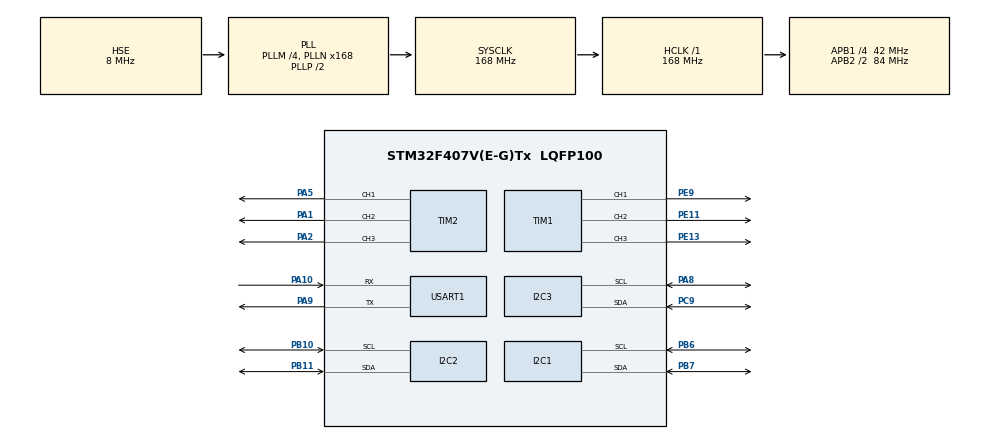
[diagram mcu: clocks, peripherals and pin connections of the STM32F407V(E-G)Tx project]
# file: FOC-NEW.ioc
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FREERTOS.Tasks01=MOTORTask,24,128,StartMOTORTask1,Default,NULL,Dynamic,NULL,NULL;OLEDTask,8,128,StartOLEDTask,Default,NULL,Dynamic,NULL,NULL;UARTTask,8,128,StartUARTTask,Default,NULL,Dynamic,NULL,NULL;AS5600Task,8,128,StartAS5600Task,Default,NULL,Dynamic,NULL,NULL
Mcu.Family=STM32F4
Mcu.Name=STM32F407V(E-G)Tx
Mcu.Package=LQFP100
NVIC.PriorityGroup=NVIC_PRIORITYGROUP_4
NVIC.TIM8_TRG_COM_TIM14_IRQn=true\:15\:0\:false\:false\:true\:false\:false\:true\:true
NVIC.TimeBase=TIM8_TRG_COM_TIM14_IRQn
NVIC.TimeBaseIP=TIM14
PA0-WKUP.Mode=SYS_WakeUp0
PA0-WKUP.Signal=SYS_WKUP
PA1.Signal=S_TIM2_CH2
PA10.Mode=Asynchronous
PA10.Signal=USART1_RX
PA13.Mode=Serial_Wire
PA13.Signal=SYS_JTMS-SWDIO
PA14.Mode=Serial_Wire
PA14.Signal=SYS_JTCK-SWCLK
PA2.Signal=S_TIM2_CH3
PA5.Signal=S_TIM2_CH1_ETR
PA8.GPIO_Pu=GPIO_PULLUP
PA8.Mode=I2C
PA8.Signal=I2C3_SCL
PA9.Mode=Asynchronous
PA9.Signal=USART1_TX
PB10.GPIO_Pu=GPIO_PULLUP
PB10.Mode=I2C
PB10.Signal=I2C2_SCL
PB11.GPIO_Pu=GPIO_PULLUP
PB11.Mode=I2C
PB11.Signal=I2C2_SDA
PB6.GPIO_Pu=GPIO_PULLUP
PB6.Mode=I2C
PB6.Signal=I2C1_SCL
PB7.GPIO_Pu=GPIO_PULLUP
PB7.Mode=I2C
PB7.Signal=I2C1_SDA
PC9.GPIO_Pu=GPIO_PULLUP
PC9.Mode=I2C
PC9.Signal=I2C3_SDA
PE11.Signal=S_TIM1_CH2
PE13.Signal=S_TIM1_CH3
PE9.Signal=S_TIM1_CH1
PH0-OSC_IN.Mode=HSE-External-Oscillator
PH0-OSC_IN.Signal=RCC_OSC_IN
PH1-OSC_OUT.Mode=HSE-External-Oscillator
PH1-OSC_OUT.Signal=RCC_OSC_OUT
ProjectManager.HeapSize=0x200
ProjectManager.StackSize=0x400
ProjectManager.TargetToolchain=CMake
RCC.48MHZClocksFreq_Value=84000000
RCC.AHBFreq_Value=168000000
RCC.APB1CLKDivider=RCC_HCLK_DIV4
RCC.APB1Freq_Value=42000000
RCC.APB1TimFreq_Value=84000000
RCC.APB2CLKDivider=RCC_HCLK_DIV2
RCC.APB2Freq_Value=84000000
RCC.APB2TimFreq_Value=168000000
RCC.CortexFreq_Value=168000000
RCC.HCLKFreq_Value=168000000
RCC.HSE_VALUE=8000000
RCC.HSI_VALUE=16000000
RCC.LSE_VALUE=32768
RCC.PLLM=4
RCC.PLLN=168
RCC.PLLSourceVirtual=RCC_PLLSOURCE_HSE
RCC.SYSCLKFreq_VALUE=168000000
RCC.SYSCLKSource=RCC_SYSCLKSOURCE_PLLCLK
RCC.VCOOutputFreq_Value=336000000
SH.S_TIM1_CH1.0=TIM1_CH1,PWM Generation1 CH1
SH.S_TIM1_CH2.0=TIM1_CH2,PWM Generation2 CH2
SH.S_TIM1_CH3.0=TIM1_CH3,PWM Generation3 CH3
SH.S_TIM2_CH1_ETR.0=TIM2_CH1,PWM Generation1 CH1
SH.S_TIM2_CH2.0=TIM2_CH2,PWM Generation2 CH2
SH.S_TIM2_CH3.0=TIM2_CH3,PWM Generation3 CH3
TIM1.Channel-PWM\ Generation1\ CH1=TIM_CHANNEL_1
TIM1.Channel-PWM\ Generation2\ CH2=TIM_CHANNEL_2
TIM1.Channel-PWM\ Generation3\ CH3=TIM_CHANNEL_3
TIM2.Channel-PWM\ Generation1\ CH1=TIM_CHANNEL_1
TIM2.Channel-PWM\ Generation2\ CH2=TIM_CHANNEL_2
TIM2.Channel-PWM\ Generation3\ CH3=TIM_CHANNEL_3
USART1.VirtualMode=VM_ASYNC
VP_FREERTOS_VS_CMSIS_V2.Mode=CMSIS_V2
VP_SYS_VS_tim14.Mode=TIM14
VP_TIM1_VS_ClockSourceINT.Mode=Internal
VP_TIM2_VS_ClockSourceINT.Mode=Internal
board=custom

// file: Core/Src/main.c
/* USER CODE BEGIN Header */
/**
  ******************************************************************************
  * @file           : main.c
  * @brief          : Main program body
  ******************************************************************************
  * @attention
  *
  * Copyright (c) 2026 STMicroelectronics.
  * All rights reserved.
  *
  * This software is licensed under terms that can be found in the LICENSE file
  * in the root directory of this software component.
  * If no LICENSE file comes with this software, it is provided AS-IS.
  *
  ******************************************************************************
  */
/* USER CODE END Header */
#include "main.h"
#include "cmsis_os.h"
#include "i2c.h"
#include "tim.h"
#include "usart.h"
#include "gpio.h"

/* USER CODE BEGIN Includes */
#include "servo.h"
#include "spi_comm.h"
/* USER CODE END Includes */

void SystemClock_Config(void);
void MX_FREERTOS_Init(void);

int main(void)
{

  /* MCU Configuration--------------------------------------------------------*/

  /* Reset of all peripherals, Initializes the Flash interface and the Systick. */
  HAL_Init();

  /* Configure the system clock */
  SystemClock_Config();

  /* Initialize all configured peripherals */
  MX_GPIO_Init();
  MX_I2C1_Init();
  MX_I2C2_Init();
  MX_TIM1_Init();
  MX_TIM2_Init();
  MX_I2C3_Init();
  MX_USART1_UART_Init();
  /* USER CODE BEGIN 2 */
  SPI2_Init();
  SPI3_Init();
  /* USER CODE END 2 */

  /* Init scheduler */
  osKernelInitialize();  /* Call init function for freertos objects (in cmsis_os2.c) */
  MX_FREERTOS_Init();

  /* Start scheduler */
  osKernelStart();

  /* We should never get here as control is now taken by the scheduler */

  /* Infinite loop */
  while (1)
  {

  }
}

void SystemClock_Config(void)
{
  RCC_OscInitTypeDef RCC_OscInitStruct = {0};
  RCC_ClkInitTypeDef RCC_ClkInitStruct = {0};

  /** Configure the main internal regulator output voltage
  */
  __HAL_RCC_PWR_CLK_ENABLE();
  __HAL_PWR_VOLTAGESCALING_CONFIG(PWR_REGULATOR_VOLTAGE_SCALE1);

  /** Initializes the RCC Oscillators according to the specified parameters
  * in the RCC_OscInitTypeDef structure.
  */
  RCC_OscInitStruct.OscillatorType = RCC_OSCILLATORTYPE_HSE;
  RCC_OscInitStruct.HSEState = RCC_HSE_ON;
  RCC_OscInitStruct.PLL.PLLState = RCC_PLL_ON;
  RCC_OscInitStruct.PLL.PLLSource = RCC_PLLSOURCE_HSE;
  RCC_OscInitStruct.PLL.PLLM = 4;
  RCC_OscInitStruct.PLL.PLLN = 168;
  RCC_OscInitStruct.PLL.PLLP = RCC_PLLP_DIV2;
  RCC_OscInitStruct.PLL.PLLQ = 4;
  if (HAL_RCC_OscConfig(&RCC_OscInitStruct) != HAL_OK)
  {
    Error_Handler();
  }

  /** Initializes the CPU, AHB and APB buses clocks
  */
  RCC_ClkInitStruct.ClockType = RCC_CLOCKTYPE_HCLK|RCC_CLOCKTYPE_SYSCLK
                              |RCC_CLOCKTYPE_PCLK1|RCC_CLOCKTYPE_PCLK2;
  RCC_ClkInitStruct.SYSCLKSource = RCC_SYSCLKSOURCE_PLLCLK;
  RCC_ClkInitStruct.AHBCLKDivider = RCC_SYSCLK_DIV1;
  RCC_ClkInitStruct.APB1CLKDivider = RCC_HCLK_DIV4;
  RCC_ClkInitStruct.APB2CLKDivider = RCC_HCLK_DIV2;

  if (HAL_RCC_ClockConfig(&RCC_ClkInitStruct, FLASH_LATENCY_5) != HAL_OK)
  {
    Error_Handler();
  }
}

void HAL_TIM_PeriodElapsedCallback(TIM_HandleTypeDef *htim)
{
  if (htim->Instance == TIM14)
  {
    HAL_IncTick();
  }
}

void Error_Handler(void)
{
  __disable_irq();
  while (1)
  {
  }
}

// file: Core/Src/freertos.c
/* USER CODE BEGIN Header */
/**
  ******************************************************************************
  * File Name          : freertos.c
  * Description        : 双电机FOC速度闭环控制
  *                      - AS5600Task:    M1编码器读取 (I2C3)
  *                      - AS5600M2Task:  M2编码器读取 (I2C2)
  *                      - MotorTask:     M1+M2速度闭环控制
  *                      - OLEDTask:      双电机状态显示 (50Hz, 软件I2C: PD2=SCL, PD3=SDA)
  *                      - MPU6050Task:   六轴传感器读取, 串口1打印 (500ms间隔)
  *                      - UARTTask:      串口DMA接收A/B命令
  *                      - KeyTask:       按键检测 (PA0/PB0/PB1)
  *                      - SPITask:       SPI通讯任务 (SPI2/SPI3预留接口)
  ******************************************************************************
  */
/* USER CODE END Header */

#include "FreeRTOS.h"
#include "task.h"
#include "main.h"
#include "cmsis_os.h"

/* USER CODE BEGIN Includes */
#include "tim.h"
#include "usart.h"
#include "DengFOC.h"
#include "AS5600.h"
#include "AS5600_M2.h"
#include "uart_comm.h"
#include "usart6.h"
#include "OLED.h"  /* 软件I2C: PD2=SCL, PD3=SDA */
#include "mpu6050.h"
#include "adc_current.h"
#include "key.h"
#include "servo.h"
#include "spi_comm.h"
#include <stdio.h>
#include <stdlib.h>
/* USER CODE END Includes */

/* =========================================================================
 * 用户配置区 - 双电机PID参数
 * ========================================================================= */

/* M1 速度环 PID 参数 */
#define M1_VEL_KP        0.1f
#define M1_VEL_KI        0.1f
#define M1_VEL_KD        0.0f
#define M1_VEL_LPF_TF    0.2f

/* M2 速度环 PID 参数 */
#define M2_VEL_KP        0.1f
#define M2_VEL_KI        0.1f
#define M2_VEL_KD        0.0f
#define M2_VEL_LPF_TF    0.2f

/* M1 电流环 PID 参数 */
#define M1_CUR_KP        1.3f
#define M1_CUR_KI        0.4f
#define M1_CUR_KD        0.0f
#define M1_CUR_LPF_TF    0.2f

/* M2 电流环 PID 参数 */
#define M2_CUR_KP        1.3f
#define M2_CUR_KI        0.4f
#define M2_CUR_KD        0.0f
#define M2_CUR_LPF_TF    0.2f

/* 目标速度上限 (rad/s), 速度环输出(电流)由PID内部LIMIT=6.3限幅 */
#define VELOCITY_LIMIT   30.0f

/* 控制模式选择: 0=速度环, 1=电流环, 2=ADC诊断, 3=速度+电流双闭环, 4=三环嵌套 */
#define CURRENT_LOOP_TEST  3

/* ========================================================================= */

/* USER CODE BEGIN Variables */

static volatile float m1_target_velocity = 0.0f;
static volatile float m2_target_velocity = 0.0f;

/* 电流环目标 (安培) */
static volatile float m1_target_current = 0.0f;   /* 默认0A, 通过串口C/D命令设置 */
static volatile float m2_target_current = 0.0f;

/* 系统就绪标志 */
static volatile uint8_t system_ready = 0;

/* USER CODE END Variables */

/* Definitions for AS5600Task (M1) */
osThreadId_t AS5600TaskHandle;
const osThreadAttr_t AS5600Task_attributes = {
  .name = "AS5600Task",
  .stack_size = 256 * 4,
  .priority = (osPriority_t) osPriorityHigh,
};

/* Definitions for AS5600M2Task (M2) */
osThreadId_t AS5600M2TaskHandle;
const osThreadAttr_t AS5600M2Task_attributes = {
  .name = "AS5600M2Task",
  .stack_size = 256 * 4,
  .priority = (osPriority_t) osPriorityHigh,
};

/* Definitions for MotorTask */
osThreadId_t MotorTaskHandle;
const osThreadAttr_t MotorTask_attributes = {
  .name = "MotorTask",
  .stack_size = 512 * 4,
  .priority = (osPriority_t) osPriorityAboveNormal,
};

/* Definitions for OLEDTask (软件I2C: PD2=SCL, PD3=SDA) */
osThreadId_t OLEDTaskHandle;
const osThreadAttr_t OLEDTask_attributes = {
  .name = "OLEDTask",
  .stack_size = 256 * 4,
  .priority = (osPriority_t) osPriorityLow,
};

/* Definitions for MPU6050Task */
osThreadId_t MPU6050TaskHandle;
const osThreadAttr_t MPU6050Task_attributes = {
  .name = "MPU6050Task",
  .stack_size = 256 * 4,
  .priority = (osPriority_t) osPriorityLow,
};

/* Definitions for UARTTask */
osThreadId_t UARTTaskHandle;
const osThreadAttr_t UARTTask_attributes = {
  .name = "UARTTask",
  .stack_size = 256 * 4,
  .priority = (osPriority_t) osPriorityNormal,
};

/* ADC测试任务 */
osThreadId_t ADCTestTaskHandle;
const osThreadAttr_t ADCTestTask_attributes = {
  .name = "ADCTestTask",
  .stack_size = 256 * 4,
  .priority = (osPriority_t) osPriorityLow,
};

/* 按键检测任务 */
osThreadId_t KeyTaskHandle;
const osThreadAttr_t KeyTask_attributes = {
  .name = "KeyTask",
  .stack_size = 256 * 4,
  .priority = (osPriority_t) osPriorityLow,
};

/* 舵机控制任务 */
osThreadId_t ServoTaskHandle;
const osThreadAttr_t ServoTask_attributes = {
  .name = "ServoTask",
  .stack_size = 256 * 4,
  .priority = (osPriority_t) osPriorityNormal,
};

/* SPI通讯任务 */
osThreadId_t SPITaskHandle;
const osThreadAttr_t SPITask_attributes = {
  .name = "SPITask",
  .stack_size = 256 * 4,
  .priority = (osPriority_t) osPriorityLow,
};

/* Function prototypes */
void StartAS5600Task(void *argument);
void StartAS5600M2Task(void *argument);
void StartMotorTask(void *argument);
void StartOLEDTask(void *argument);
void StartMPU6050Task(void *argument);
void StartUARTTask(void *argument);
void StartADCTestTask(void *argument);
void StartKeyTask(void *argument);
void StartServoTask(void *argument);
void StartSPITask(void *argument);

void MX_FREERTOS_Init(void) {

  /* DWT微秒定时器 (必须在编码器任务之前初始化, 因为速度计算要用) */
  CoreDebug->DEMCR |= CoreDebug_DEMCR_TRCENA_Msk;
  DWT->CYCCNT = 0;
  DWT->CTRL |= DWT_CTRL_CYCCNTENA_Msk;

  AS5600TaskHandle   = osThreadNew(StartAS5600Task,   NULL, &AS5600Task_attributes);
  AS5600M2TaskHandle = osThreadNew(StartAS5600M2Task, NULL, &AS5600M2Task_attributes);
  MotorTaskHandle    = osThreadNew(StartMotorTask,    NULL, &MotorTask_attributes);
  UARTTaskHandle     = osThreadNew(StartUARTTask,     NULL, &UARTTask_attributes);
  OLEDTaskHandle     = osThreadNew(StartOLEDTask,     NULL, &OLEDTask_attributes);
  MPU6050TaskHandle  = osThreadNew(StartMPU6050Task,   NULL, &MPU6050Task_attributes);
  ADCTestTaskHandle  = osThreadNew(StartADCTestTask,  NULL, &ADCTestTask_attributes);
  KeyTaskHandle      = osThreadNew(StartKeyTask,       NULL, &KeyTask_attributes);
  ServoTaskHandle    = osThreadNew(StartServoTask,     NULL, &ServoTask_attributes);
  SPITaskHandle      = osThreadNew(StartSPITask,       NULL, &SPITask_attributes);

  UART_Comm_Init();
  MX_USART6_UART_Init();

}

/*============================================================================
 * AS5600Task - M1编码器读取 (500Hz, I2C3)
 *============================================================================*/
void StartAS5600Task(void *argument)
{
    AS5600_Init();

    for (;;)
    {
        if (!AS5600_Read())
        {
            static uint8_t fail_cnt = 0;
            if (++fail_cnt >= 20)
            {
                static uint8_t print_flag = 0;
                if (!print_flag) {
                    print_flag = 1;
                }
                fail_cnt = 0;
            }
        }
        osDelay(2);
    }
}

/*============================================================================
 * AS5600M2Task - M2编码器读取 (500Hz, I2C2)
 *============================================================================*/
void StartAS5600M2Task(void *argument)
{
    AS5600_M2_Init();

    for (;;)
    {
        if (!AS5600_M2_Read())
        {
            static uint8_t fail_cnt = 0;
            if (++fail_cnt >= 20)
            {
                static uint8_t print_flag = 0;
                if (!print_flag) {
                    print_flag = 1;
                }
                fail_cnt = 0;
            }
        }
        osDelay(2);
    }
}

/*============================================================================
 * MotorTask - 双电机闭环控制 (1kHz)
 *   CURRENT_LOOP_TEST=0: 速度闭环模式
 *   CURRENT_LOOP_TEST=1: 电流环测试模式 (移植自V3P)
 *============================================================================*/
void StartMotorTask(void *argument)
{
    /* ---- M1 硬件初始化 ---- */
    HAL_TIM_PWM_Start(&htim1, TIM_CHANNEL_1);
    HAL_TIM_PWM_Start(&htim1, TIM_CHANNEL_2);
    HAL_TIM_PWM_Start(&htim1, TIM_CHANNEL_3);

    /* ---- M2 硬件初始化 ---- */
    HAL_TIM_PWM_Start(&htim2, TIM_CHANNEL_1);
    HAL_TIM_PWM_Start(&htim2, TIM_CHANNEL_2);
    HAL_TIM_PWM_Start(&htim2, TIM_CHANNEL_3);

    /* DWT已在MX_FREERTOS_Init中初始化 */

    /* ---- 等待M1编码器就绪 ---- */
    while (!as5600_ready) { osDelay(10); }

    /* ---- 等待M2编码器就绪 ---- */
    while (!as5600_m2_ready) { osDelay(10); }

    /* ---- M1 零电角度校准 ---- */
    alignSensor();

    /* ---- M2 零电角度校准 ---- */
    alignSensor_M2();

    /* ---- 关键: 对齐后停止所有PWM输出, 等待电流降为0 ---- */
    setPhaseVoltage(0, 0, 0);
    setPhaseVoltage_M2(0, 0, 0);
    osDelay(100);  /* 等待电机完全静止 */

    /* 设置系统就绪标志并发送就绪通知 */
    system_ready = 1;
    UART_SendString("ALL OK\r\n");

#if (CURRENT_LOOP_TEST == 2)
    /* ========== 纯ADC诊断模式 (不运行电流环) ========== */

    if (!ADC_Is_Started())
    {
        ADC_Current_Init();
    }
    HAL_Delay(200);

#elif (CURRENT_LOOP_TEST == 3)
    /* ========== 速度+电流双闭环模式 ========== */

    if (!ADC_Is_Started()) { ADC_Current_Init(); }
    HAL_Delay(20);

    /* 应用PID参数 */
    vel_Kp = M1_VEL_KP; vel_Ki = M1_VEL_KI; vel_Kd = M1_VEL_KD; vel_LPF_Tf = M1_VEL_LPF_TF;
    vel_m2_Kp = M2_VEL_KP; vel_m2_Ki = M2_VEL_KI; vel_m2_Kd = M2_VEL_KD; vel_m2_LPF_Tf = M2_VEL_LPF_TF;
    cur_m1_Kp = M1_CUR_KP; cur_m1_Ki = M1_CUR_KI; cur_m1_Kd = M1_CUR_KD; cur_m1_LPF_Tf = M1_CUR_LPF_TF;
    cur_m2_Kp = M2_CUR_KP; cur_m2_Ki = M2_CUR_KI; cur_m2_Kd = M2_CUR_KD; cur_m2_LPF_Tf = M2_CUR_LPF_TF;
    velocity_limit = VELOCITY_LIMIT;

    velocityCurrentClosedloop_M1_Init();
    velocityCurrentClosedloop_M2_Init();

    for (;;)
    {
        velocityCurrentClosedloop_M1(m1_target_velocity);
        velocityCurrentClosedloop_M2(m2_target_velocity);
        osDelay(1);
    }

#elif CURRENT_LOOP_TEST
    /* ========== 电流环测试模式 ========== */
    if (!ADC_Is_Started())
    {
        ADC_Current_Init();
    }
    HAL_Delay(100);

    cur_m1_Kp = M1_CUR_KP; cur_m1_Ki = M1_CUR_KI; cur_m1_Kd = M1_CUR_KD; cur_m1_LPF_Tf = M1_CUR_LPF_TF;
    cur_m2_Kp = M2_CUR_KP; cur_m2_Ki = M2_CUR_KI; cur_m2_Kd = M2_CUR_KD; cur_m2_LPF_Tf = M2_CUR_LPF_TF;

    currentClosedloop_M1_Init();
    currentClosedloop_M2_Init();

    for (;;)
    {
        currentClosedloop_M1(m1_target_current);
        currentClosedloop_M2(m2_target_current);
        osDelay(1);
    }

#else
    /* ========== 速度闭环模式 (原有功能) ========== */

    vel_Kp = M1_VEL_KP; vel_Ki = M1_VEL_KI; vel_Kd = M1_VEL_KD; vel_LPF_Tf = M1_VEL_LPF_TF;
    vel_m2_Kp = M2_VEL_KP; vel_m2_Ki = M2_VEL_KI; vel_m2_Kd = M2_VEL_KD; vel_m2_LPF_Tf = M2_VEL_LPF_TF;

    velocityClosedloop_Init();
    velocityClosedloop_M2_Init();

    for (;;)
    {
        velocityClosedloop(m1_target_velocity);
        velocityClosedloop_M2(m2_target_velocity);
        osDelay(1);
    }
#endif
}

/*============================================================================
 * UARTTask - 串口DMA接收命令
 *   电机: A<rad/s>  B<rad/s>  C<安培>  D<安培>
 *   舵机: U<0~100>  I<0~100>  O<0~100>  P<0~100>
 *         U=CH1, I=CH2, O=CH3, P=CH4
 *   示例: U50    舵机CH1设为50 (7.5%占空比)
 *         I100   舵机CH2设为100 (12.5%占空比)
 *============================================================================*/
void StartUARTTask(void *argument)
{
    uint8_t rx_cmd[UART_RX_BUF_SIZE];

    for (;;)
    {
        if (uart_rx_queue != NULL &&
            osMessageQueueGet(uart_rx_queue, rx_cmd, NULL, osWaitForever) == osOK)
        {
            rx_cmd[UART_RX_BUF_SIZE - 1] = '\0';
            char *cmd = (char *)rx_cmd;

            if (cmd[0] == 'A' || cmd[0] == 'a')
            {
                /* M1 速度命令 */
                float val = atof(cmd + 1);
                m1_target_velocity = val;
            }
            else if (cmd[0] == 'B' || cmd[0] == 'b')
            {
                /* M2 速度命令 */
                float val = atof(cmd + 1);
                m2_target_velocity = val;
            }
            else if (cmd[0] == 'C' || cmd[0] == 'c')
            {
                /* M1 电流命令 */
                float val = atof(cmd + 1);
                m1_target_current = val;
            }
            else if (cmd[0] == 'D' || cmd[0] == 'd')
            {
                /* M2 电流命令 */
                float val = atof(cmd + 1);
                m2_target_current = val;
            }
            /* ---- 舵机命令: U/I/O/P → CH1~CH4 ---- */
            else if (cmd[0] == 'U' || cmd[0] == 'u')
            {
                float val = atof(cmd + 1);
                Servo_SetDuty(SERVO_CH1, val);
            }
            else if (cmd[0] == 'I' || cmd[0] == 'i')
            {
                float val = atof(cmd + 1);
                Servo_SetDuty(SERVO_CH2, val);
            }
            else if (cmd[0] == 'O' || cmd[0] == 'o')
            {
                float val = atof(cmd + 1);
                Servo_SetDuty(SERVO_CH3, val);
            }
            else if (cmd[0] == 'P' || cmd[0] == 'p')
            {
                float val = atof(cmd + 1);
                Servo_SetDuty(SERVO_CH4, val);
            }
            else
            {
                // 不发送错误信息
            }
        }
    }
}

/*============================================================================
 * OLEDTask - 双电机状态显示 (50Hz, 软件I2C: PD2=SCL, PD3=SDA)
 *============================================================================*/
void StartOLEDTask(void *argument)
{
    OLED_GPIO_Init();  /* 软件I2C引脚初始化 */
    OLED_Init();

    char buf[16];

    for (;;)
    {
        OLED_NewFrame();

        /* ========== 电机状态显示 ========== */
        OLED_DrawLine(63, 0, 63, 63, OLED_COLOR_NORMAL);

        /* ---- 左半: M1 ---- */
        OLED_PrintASCIIString(0, 0, "M1", &afont16x8, OLED_COLOR_NORMAL);

        sprintf(buf, "S:%.2f", vel_actual_speed);
        OLED_PrintASCIIString(0, 16, buf, &afont16x8, OLED_COLOR_NORMAL);

        sprintf(buf, "I:%.3f", cur_m1_actual_iq);
        OLED_PrintASCIIString(0, 32, buf, &afont16x8, OLED_COLOR_NORMAL);

        OLED_PrintASCIIString(0, 48, "  ", &afont16x8, OLED_COLOR_NORMAL);

        /* ---- 右半: M2 ---- */
        OLED_PrintASCIIString(65, 0, "M2", &afont16x8, OLED_COLOR_NORMAL);

        sprintf(buf, "S:%.2f", vel_m2_actual_speed);
        OLED_PrintASCIIString(65, 16, buf, &afont16x8, OLED_COLOR_NORMAL);

        sprintf(buf, "I:%.3f", cur_m2_actual_iq);
        OLED_PrintASCIIString(65, 32, buf, &afont16x8, OLED_COLOR_NORMAL);

        OLED_PrintASCIIString(65, 48, "  ", &afont16x8, OLED_COLOR_NORMAL);

        OLED_ShowFrame();

        osDelay(20);  /* 50Hz */
    }
}

/*============================================================================
 * MPU6050Task - 六轴传感器读取 (200Hz, 5ms周期)
 *   通过I2C1(PB6/PB7)读取MPU6050数据
 *   互补滤波融合 roll/pitch/yaw
 *   通过USART1打印到电脑 (500ms间隔)
 *============================================================================*/
void StartMPU6050Task(void *argument)
{
    /* 等待系统稳定 */
    osDelay(500);

    /* 初始化MPU6050 */
    MPU6050_Init();

    uint32_t last_print_time = 0;

    for (;;)
    {
        /* 读取并融合数据 (200Hz) */
        MPU6050_Read_Result();

        /* 每500ms打印一次MPU6050数据 */
        uint32_t current_time = osKernelGetTickCount();
        if (current_time - last_print_time >= 500)
        {
            last_print_time = current_time;

            /* 打印欧拉角和加速度 */
            UART_Printf("R:%.1f P:%.1f Y:%.1f Ax:%.2f Ay:%.2f Az:%.2f\r\n",
                        mpu6050_data.roll, mpu6050_data.pitch, mpu6050_data.yaw,
                        mpu6050_data.Ax, mpu6050_data.Ay, mpu6050_data.Az);
        }

        osDelay(5);  /* 200Hz */
    }
}

/*============================================================================
 * ADCTestTask - ADC电流监控 (每秒打印)
 *   CURRENT_LOOP_TEST=0: 打印原始ADC值
 *   CURRENT_LOOP_TEST=1: 打印电流环实际电流值
 *============================================================================*/
void StartADCTestTask(void *argument)
{
    /* 等待系统稳定 */
    osDelay(2000);

    /* 初始化ADC */
    ADC_Current_Init();

    for (;;)
    {
#if (CURRENT_LOOP_TEST == 0)
        /* 速度环模式: 打印原始ADC + 电压 (监控电流传感器是否工作) */
        // 删除输出
#elif (CURRENT_LOOP_TEST == 4)
        /* 三环模式: 角度+速度+电流 */
        // 删除输出
#elif (CURRENT_LOOP_TEST == 3)
        /* 速度+电流双闭环: 目标速度+实际速度+电流 */
        // 删除输出
#elif (CURRENT_LOOP_TEST == 2)
        /* 诊断模式: 只打印原始ADC */
        // 删除输出
#elif CURRENT_LOOP_TEST
        /* 电流环模式: 显示实际电流值 + 原始ADC */
        // 删除输出
#else
        /* 速度环模式: 原始ADC */
        // 删除输出
#endif
        osDelay(1000);
    }
}

/*============================================================================
 * KeyTask - 按键检测任务 (10ms 周期)
 *   检测 PA0, PB0, PB1 三个按键
 *   功能待定, 当前仅打印按键事件
 *============================================================================*/
void StartKeyTask(void *argument)
{
    Key_Init();

    for (;;)
    {
        Key_Scan();

        for (int i = 0; i < KEY_NUM; i++)
        {
            KeyEvent_t event = Key_GetEvent((KeyId_t)i);

            if (event == KEY_EVENT_PRESS)
            {
                // 删除输出
            }
            else if (event == KEY_EVENT_RELEASE)
            {
                // 删除输出
            }
            else if (event == KEY_EVENT_LONG_PRESS)
            {
                // 删除输出
            }
        }

        osDelay(10);
    }
}

/*============================================================================
 * ServoTask - 舵机PWM初始化 (TIM4 300Hz, PD12~PD15)
 *   串口命令 U/I/O/P 在 UARTTask 中处理, 调用 Servo_SetDuty()
 *============================================================================*/
void StartServoTask(void *argument)
{
    /* 等待系统稳定 */
    osDelay(500);

    /* 初始化舵机PWM (TIM4 300Hz) */
    Servo_Init();

    /* 舵机由 UARTTask 通过 Servo_SetDuty() 控制, 此任务空闲 */
    for (;;)
    {
        osDelay(1000);
    }
}

/*============================================================================
 * SPITask - SPI通讯任务 (预留接口)
 *   SPI2: SCK=PB13, MISO=PC2, MOSI=PC3, CS=PB12
 *   SPI3: SCK=PB3, MISO=PB4, MOSI=PB5, CS=PA15
 *   当前为空任务, 等待具体SPI设备驱动添加
 *============================================================================*/
void StartSPITask(void *argument)
{
    /* SPI已在main()中初始化 */

    for (;;)
    {
        /* 预留SPI通讯任务 */
        /* 可在此添加SPI设备读写操作 */

        osDelay(1000);
    }
}
